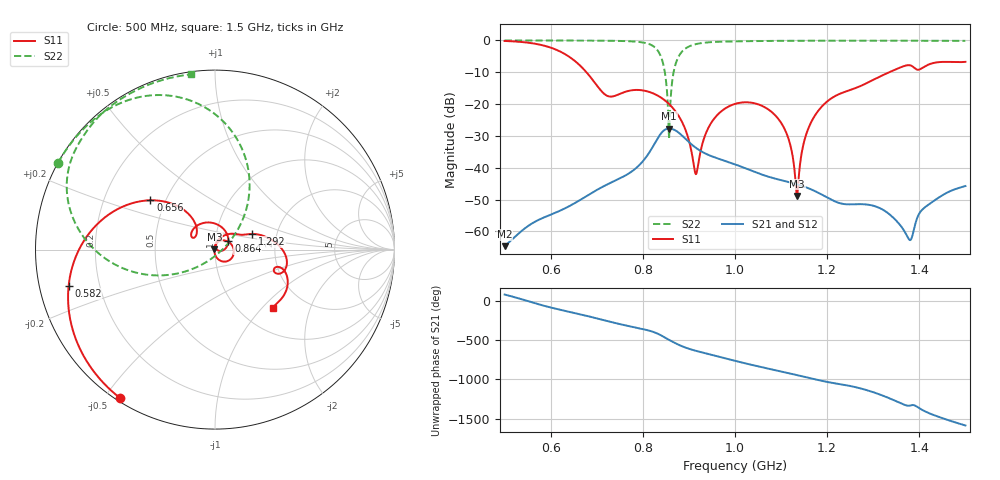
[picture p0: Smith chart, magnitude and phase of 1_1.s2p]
! TOUCHSTONE file generated by CST MICROWAVE STUDIO
! Date and time: Mon Oct 26 12:03:42 2020
! Project name: Scenario_1_Circular_Tissue_out_of_Line_v2.cst
! Parameters = {dy1=-346; L_HA=400; MT=2.54; Rad_Dielectric=30; Rad_Lower=7.3; Rad_Upper=30; a_HA=580; a_WG=246; b_HA=500; b_WG=121; c_HA=0; c_WG=187; d_feed=85; dx1=173; h_feed=15; h_lower=18; h_upper=40}
! Header version: 2018
! Port assignment regex: !\s*Touchstone port\s*([0-9]+)\s*=\s*(CST MWS port|CST DS port)\s*([0-9]+|Zmin|Zmax)\s*\(\"(.*)\"\)(\s*mode\s*([0-9]+))?.*
! Touchstone port assignment:
! Touchstone port 1 = CST MWS port 1 ("")
! Touchstone port 2 = CST MWS port 2 ("")
# GHz S DB R 50
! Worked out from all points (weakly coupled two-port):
!   1003 points, 500 MHz to 1.5 GHz, reference 50 ohm
!   highest |S21| = -27.69 dB at 857 MHz (marker M1); lowest = -64.6 dB at 500 MHz (marker M2)
!   lowest |S11| = -48.9 dB at 1.135 GHz (marker M3), VSWR 1.01, Z = 49.7 + j0.0988 ohm
!   |S11| at or under -10 dB: 677.6 MHz to 1.335 GHz (657 MHz wide, 65.3 % of centre)
!   |S22| runs from -31.0 to 0.0 dB; largest |S21 - S12| = 3.4e-05
!   S11 on the Smith chart (normalised r, x): 500 MHz: 0.01, -0.55; 582 MHz: 0.09, -0.12; 656 MHz: 0.41, +0.29; 864 MHz: 1.16, +0.11; 1.292 GHz: 1.49, +0.27; 1.5 GHz: 1.39, -1.16
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0.5  -0.16 -122.5  -64.65 76.8  -64.65 76.8  -0.01 151.1
0.582  -1.51 -166.0  -55.84 -60.0  -55.84 -60.0  -0.02 145.4
0.656  -6.88 142.7  -50.81 -163.2  -50.81 -163.2  -0.04 139.4
0.667  -8.35 135.9  -49.87 -178.1  -49.87 -178.1  -0.04 138.3
0.723  -17.43 139.8  -45.23 100.2  -45.23 100.2  -0.09 131.8
0.779  -15.61 137.8  -40.85 24.8  -40.85 24.8  -0.32 120.5
0.834  -17.48 77.2  -30.35 -64.4  -30.36 -64.4  -3.55 81.8
0.857  -20.00 43.5  -27.69 -138.7  -27.69 -138.7  -31.04 -59.5
0.864  -21.06 32.6  -27.85 -160.8  -27.85 -160.8  -12.51 -146.6
0.879  -24.03 9.4  -29.12 156.2  -29.12 156.1  -4.71 -172.9
0.915  -42.03 30.0  -33.73 83.2  -33.73 83.2  -1.16 160.1
0.947  -26.21 66.0  -36.26 35.4  -36.26 35.3  -0.55 149.4
1  -19.94 9.1  -38.93 -43.6  -38.93 -43.6  -0.29 140.0
1.094  -24.66 -70.7  -43.69 -170.8  -43.69 -170.8  -0.13 130.3
1.117  -31.30 -89.6  -44.52 158.8  -44.52 158.8  -0.11 128.2
1.135  -48.89 163.9  -45.23 134.3  -45.23 134.3  -0.10 126.7
1.167  -25.21 71.6  -46.92 90.1  -46.92 90.1  -0.10 124.1
1.292  -12.98 22.9  -51.69 -66.7  -51.69 -66.7  -0.08 114.6
1.334  -10.04 10.6  -54.50 -156.3  -54.50 -156.4  -0.08 111.4
1.38  -7.82 -15.5  -62.75 109.1  -62.75 109.1  -0.09 107.8
1.408  -8.50 -15.2  -52.96 48.0  -52.96 48.0  -0.10 105.6
1.5  -6.73 -45.4  -45.75 -143.8  -45.75 -144.1  -0.13 97.8
